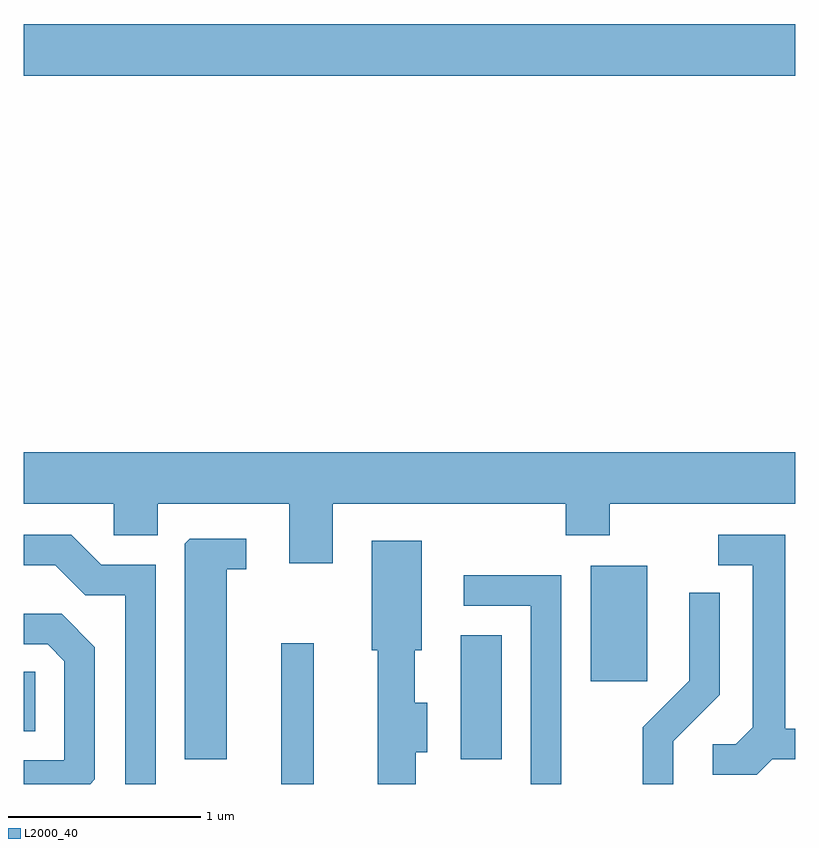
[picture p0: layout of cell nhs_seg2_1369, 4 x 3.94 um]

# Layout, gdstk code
import gdstk
lib = gdstk.Library(unit=1e-6, precision=1e-09)
def R(c, l, rs):  # rectangles x0, y0, x1, y1
    for r in rs: c.add(gdstk.rectangle(r[:2], r[2:], *l))
def P(c, l, *ps):  # polygons
    for p in ps: c.add(gdstk.Polygon(p, *l))
L2000_40 = (2000, 40)

nhs_seg2_1369 = lib.new_cell('nhs_seg2_1369')
R(nhs_seg2_1369, L2000_40, [(226.946,995.802,227.114,996.533), (227.876,995.931,228.089,996.574), (225.611,996.076,225.669,996.383), (228.551,996.336,228.844,996.934), (225.611,999.476,229.611,999.744)])
P(nhs_seg2_1369, L2000_40, [(227.214,997.256),(228.421,997.256),(228.421,997.091),(228.649,997.091),(228.649,997.256),(229.611,997.256),(229.611,997.524),(225.611,997.524),(225.611,997.256),(226.076,997.256),(226.076,997.091),(226.304,997.091),(226.304,997.256),(226.986,997.256),(226.986,996.946),(227.214,996.946)],
  [(226.294,996.939),(226.012,996.939),(225.857,997.094),(225.611,997.094),(225.611,996.936),(225.774,996.936),(225.929,996.781),(226.136,996.781),(226.136,995.802),(226.294,995.802)],
  [(229.492,995.931),(229.611,995.931),(229.611,996.089),(229.559,996.089),(229.559,997.094),(229.213,997.094),(229.213,996.936),(229.391,996.936),(229.391,996.097),(229.304,996.009),(229.183,996.009),(229.183,995.851),(229.412,995.851)],
  [(226.664,996.916),(226.763,996.916),(226.763,997.074),(226.472,997.074),(226.446,997.049),(226.446,995.931),(226.664,995.931)],
  [(227.644,995.966),(227.704,995.966),(227.704,996.224),(227.639,996.224),(227.639,996.496),(227.674,996.496),(227.674,997.064),(227.416,997.064),(227.416,996.496),(227.446,996.496),(227.446,995.802),(227.644,995.802)],
  [(228.399,996.884),(227.893,996.884),(227.893,996.726),(228.241,996.726),(228.241,995.802),(228.399,995.802)],
  [(228.979,996.024),(229.219,996.264),(229.219,996.793),(229.061,996.793),(229.061,996.337),(228.821,996.097),(228.821,995.802),(228.979,995.802)],
  [(225.979,995.827),(225.979,996.512),(225.807,996.684),(225.611,996.684),(225.611,996.526),(225.734,996.526),(225.821,996.439),(225.821,995.924),(225.611,995.924),(225.611,995.802),(225.954,995.802)])

lib.write_gds('nhs_seg2_1369.gds')
